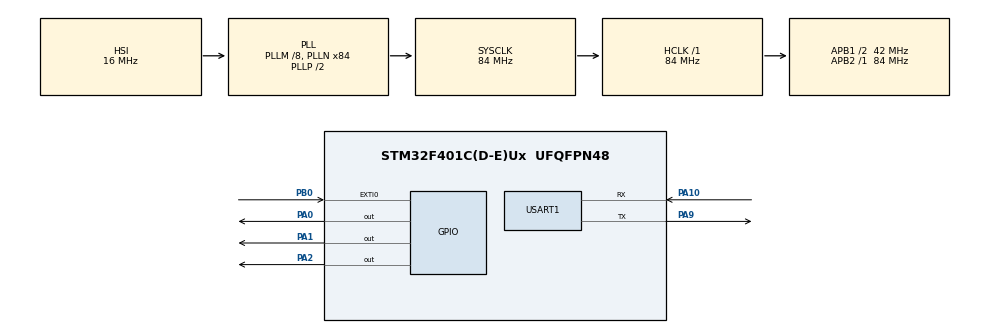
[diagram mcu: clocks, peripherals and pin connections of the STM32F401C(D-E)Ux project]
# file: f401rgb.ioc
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Mcu.Family=STM32F4
Mcu.Name=STM32F401C(D-E)Ux
Mcu.Package=UFQFPN48
NVIC.EXTI0_IRQn=true\:1\:0\:true\:false\:true\:true\:true\:true
NVIC.PriorityGroup=NVIC_PRIORITYGROUP_4
NVIC.USART1_IRQn=true\:1\:0\:true\:false\:true\:true\:true\:true
PA0-WKUP.Signal=GPIO_Output
PA1.Signal=GPIO_Output
PA10.Mode=Asynchronous
PA10.Signal=USART1_RX
PA13.Mode=Serial_Wire
PA13.Signal=SYS_JTMS-SWDIO
PA14.Mode=Serial_Wire
PA14.Signal=SYS_JTCK-SWCLK
PA2.Signal=GPIO_Output
PA9.Mode=Asynchronous
PA9.Signal=USART1_TX
PB0.Signal=GPXTI0
PH0\ -\ OSC_IN.Mode=HSE-External-Oscillator
PH0\ -\ OSC_IN.Signal=RCC_OSC_IN
PH1\ -\ OSC_OUT.Mode=HSE-External-Oscillator
PH1\ -\ OSC_OUT.Signal=RCC_OSC_OUT
ProjectManager.HeapSize=0x200
ProjectManager.StackSize=0x400
ProjectManager.TargetToolchain=Makefile
RCC.48MHZClocksFreq_Value=42000000
RCC.AHBFreq_Value=84000000
RCC.APB1CLKDivider=RCC_HCLK_DIV2
RCC.APB1Freq_Value=42000000
RCC.APB1TimFreq_Value=84000000
RCC.APB2Freq_Value=84000000
RCC.APB2TimFreq_Value=84000000
RCC.CortexFreq_Value=84000000
RCC.HCLKFreq_Value=84000000
RCC.HSE_VALUE=25000000
RCC.HSI_VALUE=16000000
RCC.LSE_VALUE=32768
RCC.PLLM=8
RCC.PLLN=84
RCC.SYSCLKFreq_VALUE=84000000
RCC.SYSCLKSource=RCC_SYSCLKSOURCE_PLLCLK
RCC.VCOOutputFreq_Value=168000000
USART1.VirtualMode=VM_ASYNC
board=custom

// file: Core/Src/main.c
/* USER CODE BEGIN Header */
/**
  ******************************************************************************
  * @file           : main.c
  * @brief          : Main program body
  ******************************************************************************
  * @attention
  *
  * Copyright (c) 2025 STMicroelectronics.
  * All rights reserved.
  *
  * This software is licensed under terms that can be found in the LICENSE file
  * in the root directory of this software component.
  * If no LICENSE file comes with this software, it is provided AS-IS.
  *
  ******************************************************************************
  */
/* USER CODE END Header */
#include "main.h"

/* USER CODE BEGIN Includes */
#include <stdio.h>
#include <string.h>
/* USER CODE END Includes */

/* USER CODE BEGIN PD */
#define LED_PORT  GPIOA
#define RED       GPIO_PIN_0
#define GREEN     GPIO_PIN_1
#define BLUE      GPIO_PIN_2

/* USER CODE END PD */

UART_HandleTypeDef huart1;

/* USER CODE BEGIN PV */
uint8_t rgbBin = 0;
uint8_t pressed = 0;
uint8_t txBuffer[20];
/* USER CODE END PV */

void SystemClock_Config(void);
static void MX_GPIO_Init(void);
static void MX_USART1_UART_Init(void);
/* USER CODE BEGIN PFP */
void switchLed()
{
  rgbBin++;
  if(rgbBin > 7)
    rgbBin = 0;

  uint8_t red   = (rgbBin >> 0) & 1;
  uint8_t green = (rgbBin >> 1) & 1;
  uint8_t blue  = (rgbBin >> 2) & 1;

  HAL_GPIO_WritePin(LED_PORT, RED,   red);
  HAL_GPIO_WritePin(LED_PORT, GREEN, green);
  HAL_GPIO_WritePin(LED_PORT, BLUE,  blue);
}

void HAL_GPIO_EXTI_Callback(uint16_t GPIO_pin)
{
    if(GPIO_pin == GPIO_PIN_0)
    {
      pressed = 1;
    }
}

/* USER CODE END PFP */

int main(void)
{

  /* MCU Configuration--------------------------------------------------------*/

  /* Reset of all peripherals, Initializes the Flash interface and the Systick. */
  HAL_Init();

  /* Configure the system clock */
  SystemClock_Config();

  /* Initialize all configured peripherals */
  MX_GPIO_Init();
  MX_USART1_UART_Init();

  /* Infinite loop */
  while (1)
  {
    // if(pressed)
    // {
    //   switchLed();
    //   snprintf((char*)txBuffer, sizeof(txBuffer), "Pressed: %d\n", rgbBin);
    //   HAL_UART_Transmit_IT(&huart1, txBuffer, strlen((char*)txBuffer));
    //   pressed = 0;
    // }
    /* USER CODE BEGIN 3 */
    rgbBin++;
    if(rgbBin > 7)
      rgbBin = 0;

    uint8_t red   = (rgbBin >> 0) & 1;
    uint8_t green = (rgbBin >> 1) & 1;
    uint8_t blue  = (rgbBin >> 2) & 1;

    HAL_GPIO_WritePin(LED_PORT, RED,   red);
    HAL_GPIO_WritePin(LED_PORT, GREEN, green);
    HAL_GPIO_WritePin(LED_PORT, BLUE,  blue);
    HAL_Delay(500);

  }
  /* USER CODE END 3 */
}

void SystemClock_Config(void)
{
  RCC_OscInitTypeDef RCC_OscInitStruct = {0};
  RCC_ClkInitTypeDef RCC_ClkInitStruct = {0};

  /** Configure the main internal regulator output voltage
  */
  __HAL_RCC_PWR_CLK_ENABLE();
  __HAL_PWR_VOLTAGESCALING_CONFIG(PWR_REGULATOR_VOLTAGE_SCALE2);

  /** Initializes the RCC Oscillators according to the specified parameters
  * in the RCC_OscInitTypeDef structure.
  */
  RCC_OscInitStruct.OscillatorType = RCC_OSCILLATORTYPE_HSI;
  RCC_OscInitStruct.HSIState = RCC_HSI_ON;
  RCC_OscInitStruct.HSICalibrationValue = RCC_HSICALIBRATION_DEFAULT;
  RCC_OscInitStruct.PLL.PLLState = RCC_PLL_ON;
  RCC_OscInitStruct.PLL.PLLSource = RCC_PLLSOURCE_HSI;
  RCC_OscInitStruct.PLL.PLLM = 8;
  RCC_OscInitStruct.PLL.PLLN = 84;
  RCC_OscInitStruct.PLL.PLLP = RCC_PLLP_DIV2;
  RCC_OscInitStruct.PLL.PLLQ = 4;
  if (HAL_RCC_OscConfig(&RCC_OscInitStruct) != HAL_OK)
  {
    Error_Handler();
  }

  /** Initializes the CPU, AHB and APB buses clocks
  */
  RCC_ClkInitStruct.ClockType = RCC_CLOCKTYPE_HCLK|RCC_CLOCKTYPE_SYSCLK
                              |RCC_CLOCKTYPE_PCLK1|RCC_CLOCKTYPE_PCLK2;
  RCC_ClkInitStruct.SYSCLKSource = RCC_SYSCLKSOURCE_PLLCLK;
  RCC_ClkInitStruct.AHBCLKDivider = RCC_SYSCLK_DIV1;
  RCC_ClkInitStruct.APB1CLKDivider = RCC_HCLK_DIV2;
  RCC_ClkInitStruct.APB2CLKDivider = RCC_HCLK_DIV1;

  if (HAL_RCC_ClockConfig(&RCC_ClkInitStruct, FLASH_LATENCY_2) != HAL_OK)
  {
    Error_Handler();
  }
}

static void MX_USART1_UART_Init(void)
{

  huart1.Instance = USART1;
  huart1.Init.BaudRate = 115200;
  huart1.Init.WordLength = UART_WORDLENGTH_8B;
  huart1.Init.StopBits = UART_STOPBITS_1;
  huart1.Init.Parity = UART_PARITY_NONE;
  huart1.Init.Mode = UART_MODE_TX_RX;
  huart1.Init.HwFlowCtl = UART_HWCONTROL_NONE;
  huart1.Init.OverSampling = UART_OVERSAMPLING_16;
  if (HAL_UART_Init(&huart1) != HAL_OK)
  {
    Error_Handler();
  }

}

static void MX_GPIO_Init(void)
{
  GPIO_InitTypeDef GPIO_InitStruct = {0};

  /* GPIO Ports Clock Enable */
  __HAL_RCC_GPIOH_CLK_ENABLE();
  __HAL_RCC_GPIOA_CLK_ENABLE();
  __HAL_RCC_GPIOB_CLK_ENABLE();

  /*Configure GPIO pin Output Level */
  HAL_GPIO_WritePin(GPIOA, GPIO_PIN_0|GPIO_PIN_1|GPIO_PIN_2, GPIO_PIN_RESET);

  /*Configure GPIO pins : PA0 PA1 PA2 */
  GPIO_InitStruct.Pin = GPIO_PIN_0|GPIO_PIN_1|GPIO_PIN_2;
  GPIO_InitStruct.Mode = GPIO_MODE_OUTPUT_PP;
  GPIO_InitStruct.Pull = GPIO_NOPULL;
  GPIO_InitStruct.Speed = GPIO_SPEED_FREQ_LOW;
  HAL_GPIO_Init(GPIOA, &GPIO_InitStruct);

  /*Configure GPIO pin : PB0 */
  GPIO_InitStruct.Pin = GPIO_PIN_0;
  GPIO_InitStruct.Mode = GPIO_MODE_IT_RISING;
  GPIO_InitStruct.Pull = GPIO_NOPULL;
  HAL_GPIO_Init(GPIOB, &GPIO_InitStruct);

  /* EXTI interrupt init*/
  HAL_NVIC_SetPriority(EXTI0_IRQn, 1, 0);
  HAL_NVIC_EnableIRQ(EXTI0_IRQn);

}

void Error_Handler(void)
{
  __disable_irq();
  while (1)
  {
  }
}
